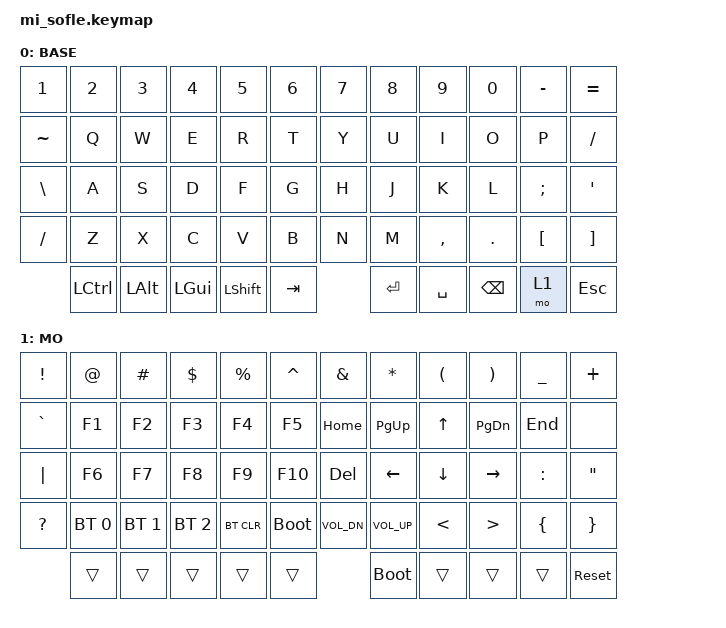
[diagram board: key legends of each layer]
#include <behaviors.dtsi>
#include <dt-bindings/zmk/keys.h>
#include <dt-bindings/zmk/bt.h>

/ {
    keymap {
        compatible = "zmk,keymap";

        base {
            display-name = "BASE";
            bindings = <
&kp N1     &kp N2  &kp N3  &kp N4   &kp N5    &kp N6     &kp N7    &kp N8  &kp N9     &kp N0    &kp MINUS  &kp EQUAL
&kp TILDE  &kp Q   &kp W   &kp E    &kp R     &kp T      &kp Y     &kp U   &kp I      &kp O     &kp P      &kp FSLH
&kp BSLH   &kp A   &kp S   &kp D    &kp F     &kp G      &kp H     &kp J   &kp K      &kp L     &kp SEMI   &kp SQT
&kp FSLH   &kp Z   &kp X   &kp C    &kp V     &kp B      &kp N     &kp M   &kp COMMA  &kp DOT   &kp LBKT   &kp RBKT
           &kp LCTRL  &kp LALT  &kp LGUI  &kp LSHFT  &kp TAB    &kp RET  &kp SPACE  &kp BSPC  &mo 1  &kp ESC
            >;
        };

        mo {
            display-name = "MO";
            bindings = <
&kp EXCL   &kp AT        &kp HASH      &kp DLLR      &kp PRCNT   &kp CARET     &kp AMPS      &kp STAR      &kp LPAR  &kp RPAR   &kp UNDER  &kp PLUS
&kp GRAVE  &kp F1        &kp F2        &kp F3        &kp F4      &kp F5        &kp HOME      &kp PG_UP     &kp UP    &kp PG_DN  &kp END    &none
&kp PIPE   &kp F6        &kp F7        &kp F8        &kp F9      &kp F10       &kp DEL       &kp LEFT      &kp DOWN  &kp RIGHT  &kp COLON  &kp DQT
&kp QMARK  &bt BT_SEL 0  &bt BT_SEL 1  &bt BT_SEL 2  &bt BT_CLR  &bootloader   &kp C_VOL_DN  &kp C_VOL_UP  &kp LT    &kp GT     &kp LBRC   &kp RBRC
           &trans  &trans  &trans  &trans  &trans    &bootloader  &trans  &trans  &trans  &sys_reset
            >;
        };
    };
};
